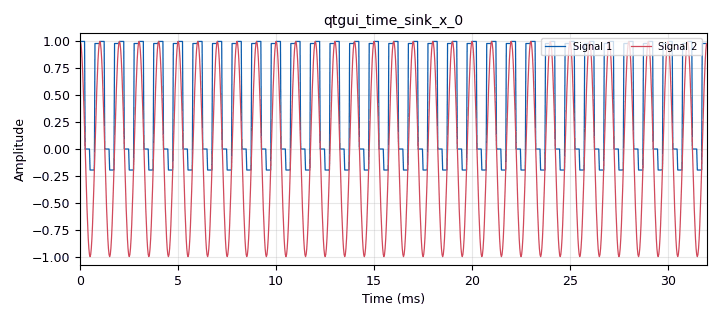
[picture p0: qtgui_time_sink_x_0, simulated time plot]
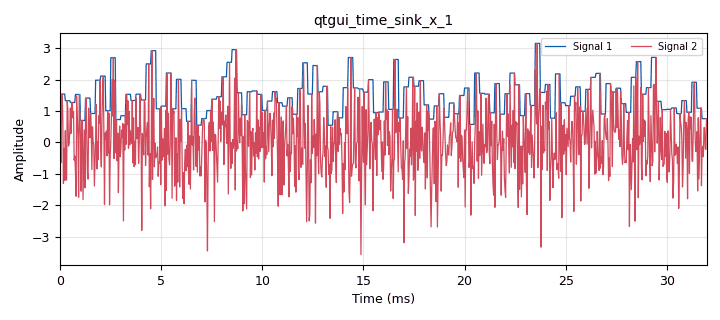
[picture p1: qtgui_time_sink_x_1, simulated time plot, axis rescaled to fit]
options:
  parameters:
    author: tao
    generate_options: qt_gui
    id: MAXHOLD
    output_language: python
  states: {}

blocks:
- name: samp_rate
  id: variable
  parameters:
    value: '32000'
  states: {}
- name: vectorlength
  id: variable
  parameters:
    value: '8'
  states: {}
- name: analog_noise_source_x_0
  id: analog_noise_source_x
  parameters:
    amp: '1'
    noise_type: analog.GR_GAUSSIAN
    seed: '0'
    type: float
  states: {}
- name: analog_sig_source_x_0
  id: analog_sig_source_x
  parameters:
    amp: '1'
    freq: '1000'
    offset: '0'
    phase: '0'
    samp_rate: samp_rate
    type: float
    waveform: analog.GR_COS_WAVE
  states: {}
- name: blocks_stream_to_vector_0
  id: blocks_stream_to_vector
  parameters:
    num_items: vectorlength
    type: float
  states: {}
- name: blocks_stream_to_vector_1
  id: blocks_stream_to_vector
  parameters:
    num_items: vectorlength
    type: float
  states: {}
- name: blocks_throttle_0
  id: blocks_throttle
  parameters:
    samples_per_second: samp_rate
    type: float
  states: {}
- name: blocks_vector_to_stream_0
  id: blocks_vector_to_stream
  parameters:
    num_items: vectorlength
    type: float
  states: {}
- name: blocks_vector_to_stream_1
  id: blocks_vector_to_stream
  parameters:
    num_items: vectorlength
    type: float
  states: {}
- name: epy_block_0
  id: epy_block
  parameters:
    _source_code: |
      """
      Embedded Python Blocks:

      Each time this file is saved, GRC will instantiate the first class it finds
      to get ports and parameters of your block. The arguments to __init__  will
      be the parameters. All of them are required to have default values!
      """

      import numpy as np
      from gnuradio import gr


      class blk(gr.sync_block):  # other base classes are basic_block, decim_block, interp_block
          """Embedded Python Block example - a simple multiply const"""

          def __init__(self, vector_size=8):  # only default arguments here
              """arguments to this function show up as parameters in GRC"""
              gr.sync_block.__init__(
                  self,
                  name='MAX HOLD Block',   # will show up in GRC
                  in_sig=[(np.float32, vector_size), (np.float32, vector_size)],
                  out_sig=[(np.float32, vector_size), (np.float32, vector_size)]
              )
              # if an attribute with the same name as a parameter is found,
              # a callback is registered (properties work, too).
              self.vector_size = vector_size

          def work(self, input_items, output_items):
              """example: different vectors"""
              for portIndex in range(len(input_items)):
                  for vectorIndex in range(len(input_items[portIndex])):
                      maxValue = np.max(input_items[portIndex][vectorIndex])
                      for sampleIndex in range(len(input_items[portIndex][vectorIndex])):
                          output_items[portIndex][vectorIndex][sampleIndex] = maxValue;
              return len(output_items[0])
    vector_size: vectorlength
  states: {}
- name: qtgui_time_sink_x_0
  id: qtgui_time_sink_x
  parameters:
    nconnections: '2'
    size: '1024'
    srate: samp_rate
    type: float
  states: {}
- name: qtgui_time_sink_x_1
  id: qtgui_time_sink_x
  parameters:
    nconnections: '2'
    size: '1024'
    srate: samp_rate
    type: float
  states: {}
- name: virtual_sink_0
  id: virtual_sink
  parameters:
    stream_id: cos
  states: {}
- name: virtual_sink_1
  id: virtual_sink
  parameters:
    stream_id: noise
  states: {}
- name: virtual_source_0
  id: virtual_source
  parameters:
    stream_id: cos
  states: {}
- name: virtual_source_1
  id: virtual_source
  parameters:
    stream_id: noise
  states: {}

connections:
- [analog_noise_source_x_0, '0', blocks_stream_to_vector_1, '0']
- [analog_noise_source_x_0, '0', virtual_sink_1, '0']
- [analog_sig_source_x_0, '0', blocks_throttle_0, '0']
- [analog_sig_source_x_0, '0', virtual_sink_0, '0']
- [blocks_stream_to_vector_0, '0', epy_block_0, '0']
- [blocks_stream_to_vector_1, '0', epy_block_0, '1']
- [blocks_throttle_0, '0', blocks_stream_to_vector_0, '0']
- [blocks_vector_to_stream_0, '0', qtgui_time_sink_x_0, '0']
- [blocks_vector_to_stream_1, '0', qtgui_time_sink_x_1, '0']
- [epy_block_0, '0', blocks_vector_to_stream_0, '0']
- [epy_block_0, '1', blocks_vector_to_stream_1, '0']
- [virtual_source_0, '0', qtgui_time_sink_x_0, '1']
- [virtual_source_1, '0', qtgui_time_sink_x_1, '1']

metadata:
  file_format: 1
